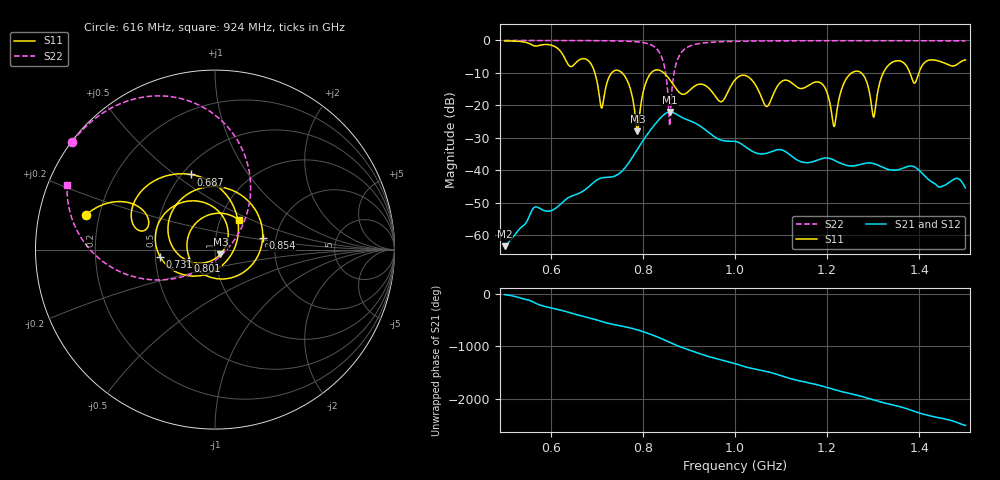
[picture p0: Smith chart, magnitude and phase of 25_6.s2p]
! TOUCHSTONE file generated by CST MICROWAVE STUDIO
! Date and time: Tue Nov 24 13:44:23 2020
! Project name: Scenario_1_Planar_Body_Tissue_Out_of_Line.cst
! Parameters = {dy1=69.2; L_HA=400; Ltissue=700; MT=2.54; Rad_Dielectric=30; Rad_Lower=7.3; Rad_Upper=30; Wtissue=700; a_HA=580; a_WG=246; b_HA=500; b_WG=121; c_HA=0; c_WG=187; d_feed=85; dx1=1039; h_feed=15; h_lower=18; h_upper=40; hfat=3; hgap=25; hmuscle=50; hskin=1.5}
! Header version: 2018
! Port assignment regex: !\s*Touchstone port\s*([0-9]+)\s*=\s*(CST MWS port|CST DS port)\s*([0-9]+|Zmin|Zmax)\s*\(\"(.*)\"\)(\s*mode\s*([0-9]+))?.*
! Touchstone port assignment:
! Touchstone port 1 = CST MWS port 1 ("")
! Touchstone port 2 = CST MWS port 2 ("")
# GHz S DB R 50
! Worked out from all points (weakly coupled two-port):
!   1003 points, 500 MHz to 1.5 GHz, reference 50 ohm
!   highest |S21| = -22.10 dB at 859 MHz (marker M1); lowest = -63.5 dB at 500 MHz (marker M2)
!   lowest |S11| = -28.0 dB at 788 MHz (marker M3), VSWR 1.08, Z = 53 - j2.74 ohm
!   |S11| at or under -10 dB: 755 MHz to 818 MHz (62.97 MHz wide, 8.01 % of centre); 845.4 MHz to 1.253 GHz (408 MHz wide, 38.9 % of centre); 1.274 GHz to 1.322 GHz (47.68 MHz wide, 3.67 % of centre) (the widest 3 of 5)
!   |S22| runs from -26.4 to 0.0 dB; largest |S21 - S12| = 7.4e-06
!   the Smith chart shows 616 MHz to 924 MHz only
!   S11 on the Smith chart (normalised r, x): 616 MHz: 0.15, +0.13; 687 MHz: 0.55, +0.57; 731 MHz: 0.53, -0.05; 801 MHz: 0.73, -0.09; 854 MHz: 1.70, +0.24; 924 MHz: 1.23, +0.42
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0.5  -0.16 -121.6  -63.46 -16.6  -63.46 -16.6  -0.01 151.2
0.616  -2.57 164.9  -51.19 60.5  -51.19 60.5  -0.02 142.9
0.667  -5.68 151.2  -46.75 -60.3  -46.75 -60.3  -0.04 138.4
0.687  -7.13 108.0  -44.56 -104.6  -44.56 -104.6  -0.05 136.3
0.71  -20.79 -29.4  -42.42 -165.3  -42.42 -165.3  -0.08 133.6
0.731  -10.24 -172.3  -42.14 146.1  -42.14 146.1  -0.11 130.7
0.788  -28.04 -40.6  -33.65 35.4  -33.65 35.4  -0.44 117.8
0.801  -15.73 -157.5  -30.77 -0.4  -30.77 -0.4  -0.68 112.4
0.834  -9.12 85.0  -24.57 -107.6  -24.57 -107.6  -3.26 84.1
0.854  -11.27 13.7  -22.23 174.7  -22.23 174.7  -15.78 35.1
0.859  -12.19 -5.2  -22.10 154.2  -22.10 154.2  -25.62 -76.1
0.879  -16.02 -94.4  -23.26 79.7  -23.26 79.7  -4.74 -169.8
0.924  -13.47 50.9  -26.37 -58.4  -26.37 -58.4  -0.93 156.6
1  -12.17 57.7  -31.14 113.7  -31.14 113.7  -0.27 140.3
1.069  -20.38 146.1  -34.79 -35.3  -34.79 -35.3  -0.14 132.6
1.118  -12.59 -83.1  -35.17 -163.6  -35.17 -163.6  -0.11 128.2
1.167  -13.25 72.0  -37.48 99.0  -37.48 99.0  -0.10 124.2
1.215  -26.56 -147.1  -36.92 -17.3  -36.92 -17.3  -0.09 120.5
1.26  -9.55 27.5  -38.65 -112.9  -38.65 -112.9  -0.09 117.1
1.302  -23.32 26.7  -38.03 143.1  -38.03 143.1  -0.08 114.0
1.334  -7.51 24.1  -39.83 69.9  -39.83 69.9  -0.09 111.6
1.5  -6.01 -43.1  -45.51 24.2  -45.51 24.2  -0.13 98.0
